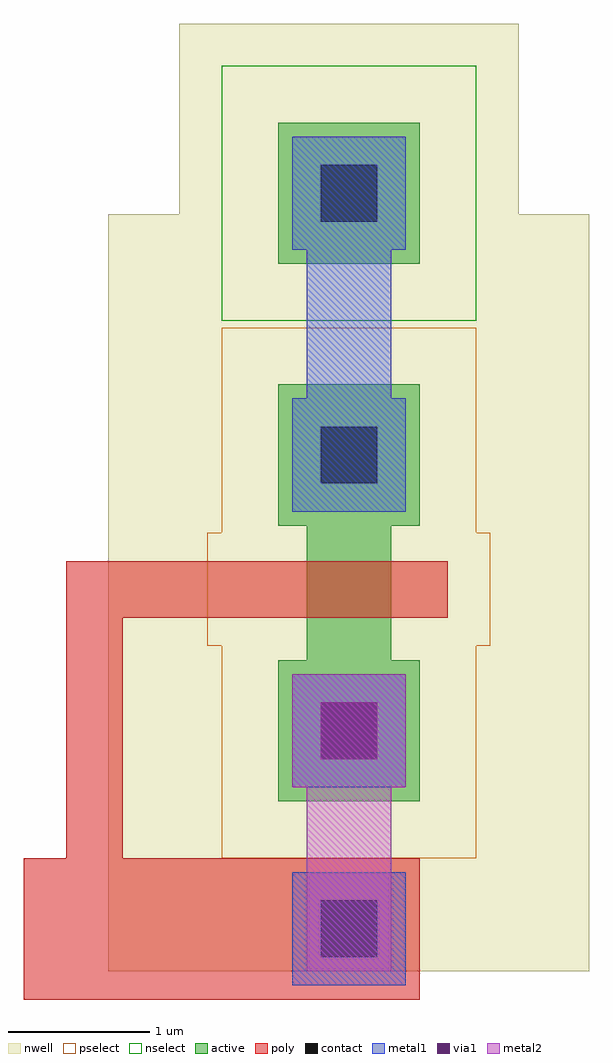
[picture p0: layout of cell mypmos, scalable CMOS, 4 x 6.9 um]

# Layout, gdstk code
import gdstk
lib = gdstk.Library(unit=1e-6, precision=1e-09)
def R(c, l, rs):  # rectangles x0, y0, x1, y1
    for r in rs: c.add(gdstk.rectangle(r[:2], r[2:], *l))
contact = (25, 0)
nwell = (42, 0)
active = (43, 0)
pselect = (44, 0)
nselect = (45, 0)
poly = (46, 0)
metal1 = (49, 0)
via1 = (50, 0)
metal2 = (51, 0)

mypmos = lib.new_cell('mypmos')
R(mypmos, contact, [(-0.2,-3.2,0.2,-2.8), (-0.2,-1.8,0.2,-1.4), (-0.2,0.15,0.2,0.55), (-0.2,2,0.2,2.4)])
R(mypmos, nwell, [(-1.7,-3.3,1.7,0.1), (-1.5,-3.1,1.5,0.15), (-1.5,-2.6,1.5,1.4), (-1.2,-2.6,1.2,3.4), (-1.7,-1.35,1.7,2.05), (-1.5,-1.35,1.5,1.85), (-1.1,1.1,1.1,3.3)])
R(mypmos, active, [(-0.5,-2.1,0.5,-1.1), (-0.3,-1.9,0.3,-1.05), (-0.3,-1.4,0.3,0.2), (-0.5,-0.15,0.5,0.85), (-0.3,-0.15,0.3,0.65), (-0.5,1.7,0.5,2.7)])
R(mypmos, pselect, [(-0.9,-2.5,0.9,-0.7), (-0.7,-2.3,0.7,-0.65), (-0.7,-1.8,0.7,0.6), (-1,-1,1,-0.2), (-0.9,-0.55,0.9,1.25), (-0.7,-0.55,0.7,1.05)])
R(mypmos, nselect, [(-0.9,1.3,0.9,3.1)])
R(mypmos, poly, [(-2.3,-3.5,0.5,-2.5), (-0.5,-3.5,0.5,-2.5), (-2,-3.2,-1.6,-2.6), (-2,-3,-1.6,-0.4), (-2,-0.8,-0.5,-0.4), (-0.7,-0.8,0.7,-0.4)])
R(mypmos, metal1, [(-0.4,-3.4,0.4,-2.6), (-0.4,-2,0.4,-1.2), (-0.4,-2,0.4,-1.2), (-0.3,-1.9,0.3,-1.3), (-0.4,-0.05,0.4,0.75), (-0.3,0.05,0.3,2.5), (-0.4,1.8,0.4,2.6)])
R(mypmos, via1, [(-0.2,-1.8,0.2,-1.4)])
R(mypmos, metal2, [(-0.3,-3.3,0.3,-1.3), (-0.4,-2,0.4,-1.2)])

lib.write_gds('mypmos.gds')
